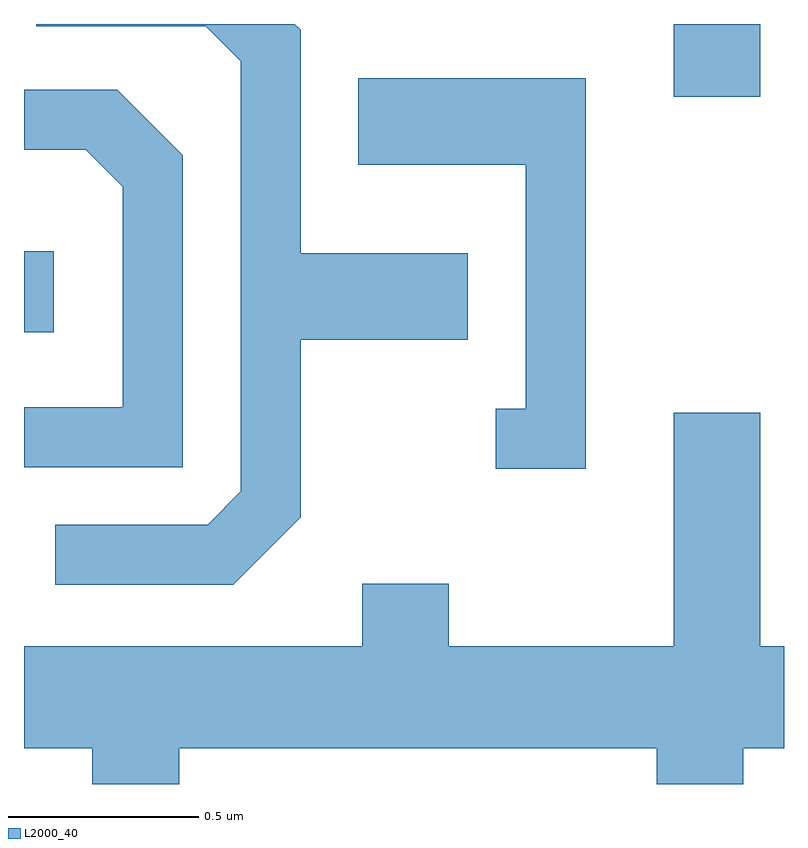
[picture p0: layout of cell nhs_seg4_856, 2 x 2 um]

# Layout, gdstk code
import gdstk
lib = gdstk.Library(unit=1e-6, precision=1e-09)
def R(c, l, rs):  # rectangles x0, y0, x1, y1
    for r in rs: c.add(gdstk.rectangle(r[:2], r[2:], *l))
def P(c, l, *ps):  # polygons
    for p in ps: c.add(gdstk.Polygon(p, *l))
L2000_40 = (2000, 40)

nhs_seg4_856 = lib.new_cell('nhs_seg4_856')
R(nhs_seg4_856, L2000_40, [(191.611,1289.171,191.689,1289.384), (193.321,1289.791,193.549,1289.982)])
P(nhs_seg4_856, L2000_40, [(192.339,1288.684),(192.339,1289.151),(192.779,1289.151),(192.779,1289.379),(192.339,1289.379),(192.339,1289.967),(192.324,1289.982),(191.643,1289.982),(191.643,1289.976),(192.089,1289.976),(192.181,1289.884),(192.181,1288.752),(192.094,1288.664),(191.693,1288.664),(191.693,1288.506),(192.162,1288.506)],
  [(193.089,1289.839),(192.491,1289.839),(192.491,1289.611),(192.931,1289.611),(192.931,1288.969),(192.853,1288.969),(192.853,1288.811),(193.089,1288.811)],
  [(192.029,1289.637),(191.857,1289.809),(191.611,1289.809),(191.611,1289.651),(191.774,1289.651),(191.871,1289.554),(191.871,1288.974),(191.611,1288.974),(191.611,1288.816),(192.029,1288.816)],
  [(192.019,1288.076),(193.276,1288.076),(193.276,1287.982),(193.504,1287.982),(193.504,1288.076),(193.611,1288.076),(193.611,1288.344),(193.549,1288.344),(193.549,1288.959),(193.321,1288.959),(193.321,1288.344),(192.729,1288.344),(192.729,1288.509),(192.501,1288.509),(192.501,1288.344),(191.611,1288.344),(191.611,1288.076),(191.791,1288.076),(191.791,1287.982),(192.019,1287.982)])

lib.write_gds('nhs_seg4_856.gds')
